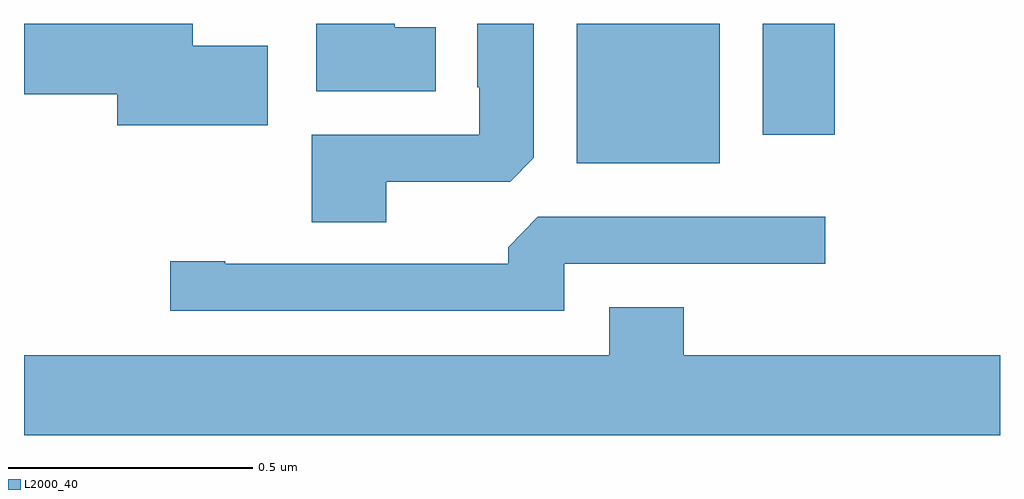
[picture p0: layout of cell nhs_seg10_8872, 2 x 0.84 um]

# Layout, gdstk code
import gdstk
lib = gdstk.Library(unit=1e-6, precision=1e-09)
def R(c, l, rs):  # rectangles x0, y0, x1, y1
    for r in rs: c.add(gdstk.rectangle(r[:2], r[2:], *l))
def P(c, l, *ps):  # polygons
    for p in ps: c.add(gdstk.Polygon(p, *l))
L2000_40 = (2000, 40)

nhs_seg10_8872 = lib.new_cell('nhs_seg10_8872')
R(nhs_seg10_8872, L2000_40, [(223.133,1294.214,223.426,1294.5), (223.514,1294.272,223.661,1294.5)])
P(nhs_seg10_8872, L2000_40, [(222.742,1294.176),(222.996,1294.176),(223.045,1294.225),(223.045,1294.5),(222.929,1294.5),(222.929,1294.369),(222.933,1294.369),(222.933,1294.272),(222.59,1294.272),(222.59,1294.093),(222.742,1294.093)],
  [(222.844,1294.492),(222.76,1294.492),(222.76,1294.5),(222.599,1294.5),(222.599,1294.361),(222.844,1294.361)],
  [(222.499,1294.455),(222.346,1294.455),(222.346,1294.5),(222,1294.5),(222,1294.355),(222.191,1294.355),(222.191,1294.292),(222.499,1294.292)],
  [(223.107,1294.008),(223.642,1294.008),(223.642,1294.104),(223.053,1294.104),(222.992,1294.042),(222.992,1294.008),(222.412,1294.008),(222.412,1294.013),(222.3,1294.013),(222.3,1293.912),(223.107,1293.912)],
  [(224,1293.82),(223.352,1293.82),(223.352,1293.919),(223.199,1293.919),(223.199,1293.82),(222,1293.82),(222,1293.656),(224,1293.656)])

lib.write_gds('nhs_seg10_8872.gds')
